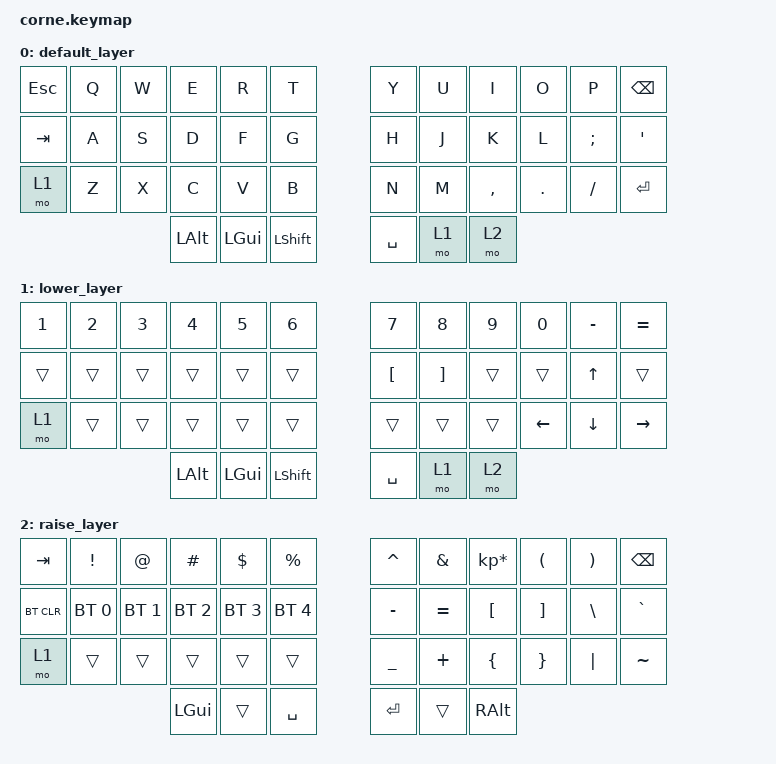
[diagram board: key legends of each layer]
/*
 * Copyright (c) 2020 The ZMK Contributors
 *
 * SPDX-License-Identifier: MIT
 */

#include <behaviors.dtsi>
#include <dt-bindings/zmk/keys.h>
#include <dt-bindings/zmk/bt.h>

/  {
        keymap {
                compatible = "zmk,keymap";

                default_layer {
// -----------------------------------------------------------------------------------------
// | ESC |  Q  |  W  |  E  |  R  |  T  |   |  Y  |  U   |  I  |  O  |  P  | BSPC|
// | TAB |  A  |  S  |  D  |  F  |  G  |   |  H  |  J   |  K  |  L  |  ;  |  '   |
// | L1  |  Z  |  X  |  C  |  V  |  B  |   |  N  |  M   |  ,  |  .  |  /  | ENTER  |
//                    | LALT | LGUI | LSHFT |   | SPACE | L1  | L2 |
                        bindings = <
   &kp ESC &kp Q &kp W &kp E &kp R &kp T    &kp Y &kp U  &kp I     &kp O   &kp P    &kp BSPC
   &kp TAB &kp A &kp S &kp D &kp F &kp G    &kp H &kp J  &kp K     &kp L   &kp SEMI &kp SQT
   &mo 1 &kp Z &kp X &kp C &kp V &kp B      &kp N &kp M  &kp COMMA &kp DOT &kp FSLH &kp RET
              &kp LALT &kp LGUI &kp LSHFT   &kp SPACE &mo 1 &mo 2
                        >;
                };
                lower_layer {
// -----------------------------------------------------------------------------------------
// |  1 |  2  |  3  |  4  |  5  |  6  |   |  7  |  8  |  9  |  0  |  -  | = |
// |     |     |     |     |     |  |   |    |  [  |   ]  |    |    |  UP   |       |
// | L1  |     |     |     |     |     |   |     |     |     |  LFT   |  DWN   |  RGT    |
//                    | LALT | LGUI | LSHFT |   | SPACE | L1  | L2 |
                        bindings = <
   &kp N1 &kp N2 &kp N3 &kp N4 &kp N5 &kp N6       &kp N7 &kp N8 &kp N9 &kp N0 &kp MINUS &kp EQUAL
   &trans &trans &trans &trans &trans &trans       &kp LBKT &kp RBKT &trans &trans   &kp UP      &trans
   &mo 1  &trans  &trans &trans &trans &trans      &trans  &trans &trans  &kp LEFT &kp DOWN &kp RIGHT
                 &kp LALT &kp LGUI &kp LSHFT       &kp SPACE &mo 1 &mo 2
                        >;
                };

                raise_layer {
// -----------------------------------------------------------------------------------------
// |  TAB |  !  |  @  |  #  |  $  |  %  |   |  ^  |  &  |  *  |  (  |  )  | BSPC |
// | BTCLR| BT1 | BT2 | BT3 | BT4 |     |   |  -  |  =  |  [  |  ]  |  \  |  `   |
// | SHFT |     |     |     |     |     |   |  _  |  +  |  {  |  }  | "|" |  ~   |
//                    | GUI |     | SPC |   | ENT |     | ALT |
                        bindings = <
   &kp  TAB  &kp EXCL &kp AT &kp HASH &kp DLLR &kp PRCNT   &kp CARET &kp AMPS  &kp KP_MULTIPLY &kp LPAR &kp RPAR &kp BSPC
   &bt BT_CLR &bt BT_SEL 0 &bt BT_SEL 1 &bt BT_SEL 2 &bt BT_SEL 3 &bt BT_SEL 4      &kp MINUS &kp EQUAL &kp LBKT        &kp RBKT &kp BSLH &kp GRAVE
   &mo 1 &trans   &trans &trans   &trans   &trans      &kp UNDER &kp PLUS  &kp LBRC        &kp RBRC &kp PIPE &kp TILDE
                    	     &kp LGUI &trans   &kp SPACE   &kp RET   &trans    &kp RALT
                        >;
                };
        };
};
